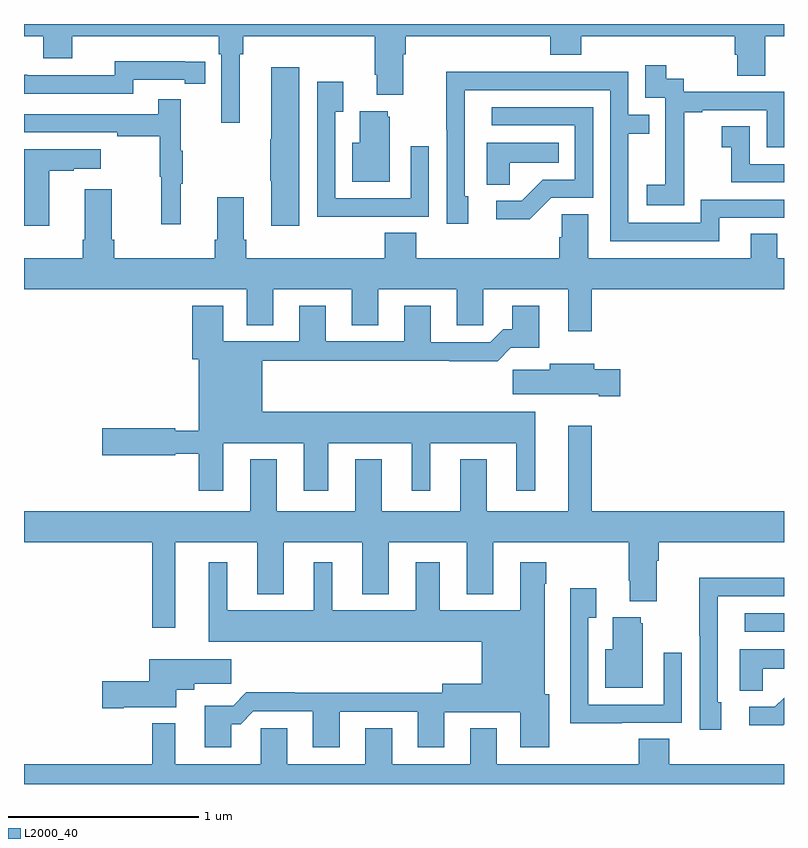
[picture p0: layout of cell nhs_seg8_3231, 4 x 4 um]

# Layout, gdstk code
import gdstk
lib = gdstk.Library(unit=1e-6, precision=1e-09)
def R(c, l, rs):  # rectangles x0, y0, x1, y1
    for r in rs: c.add(gdstk.rectangle(r[:2], r[2:], *l))
def P(c, l, *ps):  # polygons
    for p in ps: c.add(gdstk.Polygon(p, *l))
L2000_40 = (2000, 40)

nhs_seg8_3231 = lib.new_cell('nhs_seg8_3231')
R(nhs_seg8_3231, L2000_40, [(314.793,1110.702,315,1110.798)])
P(nhs_seg8_3231, L2000_40, [(312.136,1113.74),(312.155,1113.74),(312.155,1113.836),(312.845,1113.836),(312.845,1113.634),(312.857,1113.634),(312.857,1113.527),(312.997,1113.527),(312.997,1113.74),(313.01,1113.74),(313.01,1113.836),(313.769,1113.836),(313.769,1113.737),(313.934,1113.737),(313.934,1113.836),(314.741,1113.836),(314.741,1113.738),(314.753,1113.738),(314.753,1113.628),(314.901,1113.628),(314.901,1113.836),(315,1113.836),(315,1113.9),(311,1113.9),(311,1113.836),(311.102,1113.836),(311.102,1113.719),(311.254,1113.719),(311.254,1113.836),(312.026,1113.836),(312.026,1113.74),(312.039,1113.74),(312.039,1113.381),(312.136,1113.381)],
  [(311.574,1113.606),(311.846,1113.606),(311.846,1113.586),(311.954,1113.586),(311.954,1113.702),(311.846,1113.702),(311.846,1113.703),(311.478,1113.703),(311.478,1113.63),(311.018,1113.63),(311.018,1113.632),(311,1113.632),(311,1113.534),(311.574,1113.534)],
  [(314.475,1113.151),(314.474,1113.151),(314.474,1113.435),(314.569,1113.435),(314.569,1113.447),(314.91,1113.447),(314.91,1113.252),(315,1113.252),(315,1113.543),(314.472,1113.543),(314.472,1113.612),(314.38,1113.612),(314.38,1113.682),(314.271,1113.682),(314.271,1113.513),(314.376,1113.513),(314.376,1113.284),(314.375,1113.284),(314.375,1113.055),(314.277,1113.055),(314.277,1112.945),(314.475,1112.945)],
  [(312.448,1113.673),(312.302,1113.673),(312.302,1113.293),(312.295,1113.293),(312.295,1113.076),(312.302,1113.076),(312.302,1112.838),(312.448,1112.838)],
  [(314.659,1112.88),(315,1112.88),(315,1112.976),(314.562,1112.976),(314.562,1112.853),(314.181,1112.853),(314.181,1113.322),(314.291,1113.322),(314.291,1113.423),(314.181,1113.423),(314.181,1113.648),(313.685,1113.648),(313.685,1113.65),(313.222,1113.65),(313.222,1113.343),(313.224,1113.343),(313.224,1112.85),(313.339,1112.85),(313.339,1112.994),(313.32,1112.994),(313.32,1113.552),(314.085,1113.552),(314.085,1112.757),(314.659,1112.757)],
  [(312.815,1112.886),(313.131,1112.886),(313.131,1113.256),(313.035,1113.256),(313.035,1112.982),(312.639,1112.982),(312.639,1113.439),(312.679,1113.439),(312.679,1113.595),(312.543,1113.595),(312.543,1112.885),(312.815,1112.885)],
  [(311.825,1113.059),(311.836,1113.059),(311.836,1113.233),(311.825,1113.233),(311.825,1113.505),(311.707,1113.505),(311.707,1113.426),(311,1113.426),(311,1113.33),(311.491,1113.33),(311.491,1113.31),(311.715,1113.31),(311.715,1113.096),(311.722,1113.096),(311.722,1112.847),(311.825,1112.847)],
  [(313.776,1112.985),(313.995,1112.985),(313.995,1113.462),(313.461,1113.462),(313.461,1113.366),(313.899,1113.366),(313.899,1113.081),(313.73,1113.081),(313.619,1112.97),(313.485,1112.97),(313.485,1112.873),(313.663,1112.873)],
  [(312.925,1113.411),(312.914,1113.411),(312.914,1113.442),(312.767,1113.442),(312.767,1113.274),(312.728,1113.274),(312.728,1113.071),(312.925,1113.071)],
  [(315,1113.162),(314.82,1113.162),(314.82,1113.361),(314.673,1113.361),(314.673,1113.251),(314.722,1113.251),(314.722,1113.066),(315,1113.066)],
  [(313.557,1113.17),(313.814,1113.17),(313.814,1113.274),(313.436,1113.274),(313.436,1113.055),(313.557,1113.055)],
  [(311.134,1113.127),(311.261,1113.127),(311.261,1113.137),(311.404,1113.137),(311.404,1113.241),(311,1113.241),(311,1112.838),(311.134,1112.838)],
  [(313.987,1112.504),(315,1112.504),(315,1112.668),(314.964,1112.668),(314.964,1112.795),(314.825,1112.795),(314.825,1112.668),(313.969,1112.668),(313.969,1112.9),(313.83,1112.9),(313.83,1112.777),(313.817,1112.777),(313.817,1112.668),(313.064,1112.668),(313.064,1112.801),(312.899,1112.801),(312.899,1112.668),(312.17,1112.668),(312.17,1112.764),(312.157,1112.764),(312.157,1112.989),(312.017,1112.989),(312.017,1112.764),(312.005,1112.764),(312.005,1112.668),(311.474,1112.668),(311.474,1112.764),(311.461,1112.764),(311.461,1113.031),(311.321,1113.031),(311.321,1112.764),(311.309,1112.764),(311.309,1112.668),(311,1112.668),(311,1112.504),(312.173,1112.504),(312.173,1112.314),(312.313,1112.314),(312.313,1112.504),(312.725,1112.504),(312.725,1112.314),(312.865,1112.314),(312.865,1112.504),(313.277,1112.504),(313.277,1112.314),(313.416,1112.314),(313.416,1112.504),(313.865,1112.504),(313.865,1112.283),(313.987,1112.283)],
  [(312.049,1111.694),(312.473,1111.694),(312.473,1111.443),(312.601,1111.443),(312.601,1111.694),(313.04,1111.694),(313.04,1111.443),(313.138,1111.443),(313.138,1111.694),(313.592,1111.694),(313.592,1111.443),(313.69,1111.443),(313.69,1111.858),(312.253,1111.858),(312.253,1112.128),(313.237,1112.128),(313.237,1112.126),(313.493,1112.126),(313.562,1112.195),(313.711,1112.195),(313.711,1112.416),(313.571,1112.416),(313.571,1112.293),(313.522,1112.293),(313.455,1112.226),(313.141,1112.226),(313.141,1112.416),(313.001,1112.416),(313.001,1112.229),(312.589,1112.229),(312.589,1112.416),(312.449,1112.416),(312.449,1112.229),(312.049,1112.229),(312.049,1112.416),(311.885,1112.416),(311.885,1112.136),(311.921,1112.136),(311.921,1111.759),(311.796,1111.759),(311.796,1111.772),(311.412,1111.772),(311.412,1111.63),(311.796,1111.63),(311.796,1111.638),(311.921,1111.638),(311.921,1111.443),(312.049,1111.443)],
  [(314.137,1112.082),(314.002,1112.082),(314.002,1112.113),(313.766,1112.113),(313.766,1112.081),(313.572,1112.081),(313.572,1111.952),(314.024,1111.952),(314.024,1111.94),(314.137,1111.94)],
  [(311.797,1111.172),(312.227,1111.172),(312.227,1110.899),(312.367,1110.899),(312.367,1111.172),(312.779,1111.172),(312.779,1110.899),(312.919,1110.899),(312.919,1111.172),(313.331,1111.172),(313.331,1110.899),(313.471,1110.899),(313.471,1111.172),(314.182,1111.172),(314.182,1110.97),(314.189,1110.97),(314.189,1110.863),(314.329,1110.863),(314.329,1111.076),(314.342,1111.076),(314.342,1111.172),(315,1111.172),(315,1111.336),(313.987,1111.336),(313.987,1111.786),(313.865,1111.786),(313.865,1111.336),(313.435,1111.336),(313.435,1111.609),(313.295,1111.609),(313.295,1111.336),(312.883,1111.336),(312.883,1111.609),(312.743,1111.609),(312.743,1111.336),(312.331,1111.336),(312.331,1111.609),(312.191,1111.609),(312.191,1111.336),(311,1111.336),(311,1111.172),(311.676,1111.172),(311.676,1110.723),(311.797,1110.723)],
  [(312.091,1110.215),(312.14,1110.215),(312.207,1110.282),(312.521,1110.282),(312.521,1110.093),(312.661,1110.093),(312.661,1110.279),(313.073,1110.279),(313.073,1110.093),(313.213,1110.093),(313.213,1110.278),(313.613,1110.278),(313.613,1110.093),(313.765,1110.093),(313.765,1110.372),(313.741,1110.372),(313.741,1110.953),(313.749,1110.953),(313.749,1111.066),(313.613,1111.066),(313.613,1110.814),(313.189,1110.814),(313.189,1111.066),(313.061,1111.066),(313.061,1110.814),(312.622,1110.814),(312.622,1111.066),(312.524,1111.066),(312.524,1110.814),(312.07,1110.814),(312.07,1111.066),(311.972,1111.066),(311.972,1110.65),(313.409,1110.65),(313.409,1110.427),(313.202,1110.427),(313.202,1110.38),(312.425,1110.38),(312.425,1110.383),(312.17,1110.383),(312.1,1110.313),(311.951,1110.313),(311.951,1110.093),(312.091,1110.093)],
  [(314.671,1110.33),(314.652,1110.33),(314.652,1110.888),(315,1110.888),(315,1110.986),(314.554,1110.986),(314.554,1110.679),(314.556,1110.679),(314.556,1110.186),(314.671,1110.186)],
  [(314.147,1110.222),(314.463,1110.222),(314.463,1110.592),(314.367,1110.592),(314.367,1110.318),(313.971,1110.318),(313.971,1110.775),(314.011,1110.775),(314.011,1110.931),(313.874,1110.931),(313.874,1110.472),(313.875,1110.472),(313.875,1110.221),(314.147,1110.221)],
  [(314.257,1110.747),(314.246,1110.747),(314.246,1110.778),(314.099,1110.778),(314.099,1110.61),(314.06,1110.61),(314.06,1110.407),(314.257,1110.407)],
  [(314.889,1110.506),(315,1110.506),(315,1110.61),(314.768,1110.61),(314.768,1110.391),(314.889,1110.391)],
  [(311.524,1110.305),(311.8,1110.305),(311.8,1110.395),(311.896,1110.395),(311.896,1110.427),(312.091,1110.427),(312.091,1110.556),(311.66,1110.556),(311.66,1110.44),(311.412,1110.44),(311.412,1110.298),(311.524,1110.298)],
  [(315,1110.214),(315,1110.355),(314.951,1110.306),(314.817,1110.306),(314.817,1110.209),(314.995,1110.209)],
  [(315,1110.004),(314.396,1110.004),(314.396,1110.137),(314.236,1110.137),(314.236,1110.004),(313.489,1110.004),(313.489,1110.193),(313.349,1110.193),(313.349,1110.004),(312.937,1110.004),(312.937,1110.194),(312.797,1110.194),(312.797,1110.004),(312.385,1110.004),(312.385,1110.194),(312.246,1110.194),(312.246,1110.004),(311.797,1110.004),(311.797,1110.22),(311.676,1110.22),(311.676,1110.004),(311,1110.004),(311,1109.9),(315,1109.9)])

lib.write_gds('nhs_seg8_3231.gds')
